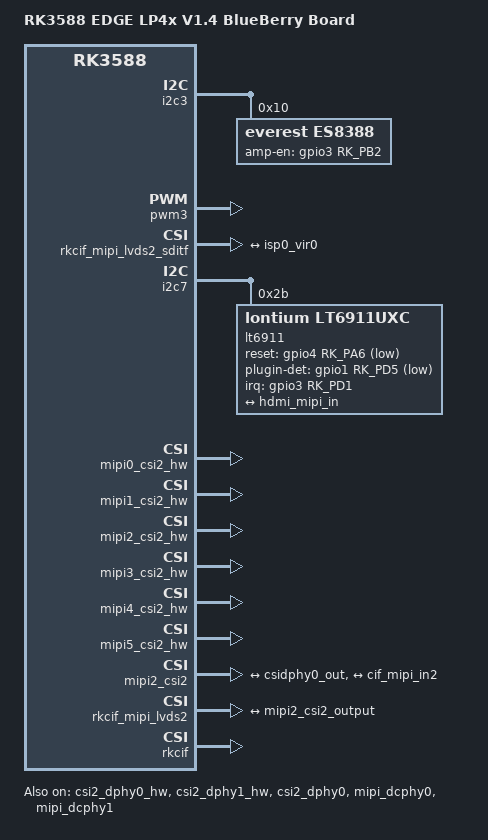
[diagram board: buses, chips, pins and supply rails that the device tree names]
// SPDX-License-Identifier: (GPL-2.0+ OR MIT)
/*
 * Copyright (c) 2021 Rockchip Electronics Co., Ltd.
 *
 */

/dts-v1/;

#include "rk3588-hugsun-edge-v14.dtsi"
#include "rk3588-linux.dtsi"
//#include "rk3588-hugsun-edge-v14a-lt6911uxc-dual-mipi.dtsi"
/ {
	model = "RK3588 EDGE LP4x V1.4 BlueBerry Board";
	compatible = "rockchip,rk3588-hugsun-edge-v14-linux", "rockchip,rk3588";
};

&rk_headset {
		status = "disabled";
		compatible = "rockchip_headset";
		headset_gpio = <&gpio3 RK_PB2 GPIO_ACTIVE_HIGH>;
		pinctrl-names = "default";
		pinctrl-0 = <&hp_det>;
		io-channels = <&saradc 3>;
};

&i2c3 {
	status = "okay";
	es8388: es8388@10 {
		status = "okay";
		#sound-dai-cells = <0>;
		compatible = "everest,es8388", "everest,es8323";
		reg = <0x10>;
		clocks = <&mclkout_i2s0>;
		clock-names = "mclk";
		assigned-clocks = <&mclkout_i2s0>;
		amp-en-gpio = <&gpio3 RK_PB2 GPIO_ACTIVE_HIGH>;
		assigned-clock-rates = <12288000>;
		pinctrl-names = "default";
		pinctrl-0 = <&i2s0_mclk>;
	};
};



&pwm3 {
	compatible = "rockchip,remotectl-pwm";
	pinctrl-names = "default";
	pinctrl-0 = <&pwm3m0_pins>;
	remote_pwm_id = <3>;
	handle_cpu_id = <1>;
	remote_support_psci = <0>;
	status = "okay";

	ir_key1 {  //hugsun blue remote
		rockchip,usercode = <0x7f80>;
		rockchip,key_table =
			<0xec	KEY_REPLY>,
			<0xd8	KEY_BACK>,
			<0xc7	KEY_UP>,
			<0xbf	KEY_DOWN>,
			<0xc8	KEY_LEFT>,
			<0xc6	KEY_RIGHT>,
			<0x8c	KEY_HOME>,
			<0x78	KEY_VOLUMEUP>,
			<0x76	KEY_VOLUMEDOWN>,
			<0x7e	KEY_POWER>,
			<0xed	KEY_POWER>,  //20171123 
			<0x7c	KEY_MENU>,
			<0xb7	388>;
	};

	ir_key2 {   //hugsun 
		rockchip,usercode = <0xef10>;
		rockchip,key_table =
			<0xa2 KEY_POWER>,
			<0xe8 KEY_VOLUMEUP>,
			<0xec KEY_VOLUMEDOWN>,
			<0xa6 141>,//KEY_SETUP>,
			<0xa5 388>,
			<0xff KEY_BACK>,
			<0xba KEY_UP>,
			<0xf8 KEY_LEFT>,
			<0xbe KEY_REPLY>,
			<0xfe KEY_RIGHT>,
			<0xaa KEY_DOWN>,
			<0xb9 KEY_HOME>,
			<0xfa KEY_MENU>,
			<0xe5 KEY_REWIND>, 
			<0xa7 KEY_PLAYPAUSE>,
			<0xe2 KEY_FASTFORWARD>,
			<0xa0 77>,  //@
			<0xb0 KEY_0>,
			<0xa1 14>,
			<0xaf KEY_1>,
			<0xad KEY_2>,
			<0xef KEY_3>,
			<0xb3 KEY_4>,
			<0xb5 KEY_5>,
			<0xee KEY_6>,
			<0xf0 KEY_7>,
			<0xb1 KEY_8>,
			<0xf2	KEY_9>;
	};

	ir_key3 {
		rockchip,usercode = <0xdf00>;
		rockchip,key_table =
			<0xe3 KEY_POWER>,
			<0xb4 63>,	//youtube
			<0xfe 67>,	//Media Center
			<0xa2 KEY_VOLUMEUP>,
			<0xb0 66>,	//Netflix
			<0xa0 68>,	//SetupWizard
			<0xa3 KEY_VOLUMEDOWN>,
			
			<0xbd KEY_HOME>,
			<0xf5 KEY_BACK>,
			
			<0xe5 KEY_UP>,    
			<0xb8 KEY_LEFT>,  
			<0xf9 KEY_REPLY>, 
			<0xf8 KEY_RIGHT>, 
			<0xb7 KEY_DOWN>,  
			<0xfc 388>,
			<0xe7 KEY_MENU>,
			
			<0xab KEY_1>, 
			<0xe9 KEY_2>, 
			<0xea KEY_3>, 
			<0xaf KEY_4>, 
			<0xed KEY_5>, 
			<0xee KEY_6>, 
			<0xb3 KEY_7>, 
			<0xf1 KEY_8>, 
			<0xf2 KEY_9>,
			<0xbe 227>,  //Fn
			<0xf3 KEY_0>,
			<0xef 14>;

	};

	ir_key4{
		rockchip,usercode = <0x4040>;
		rockchip,key_table =
		<0x4d KEY_POWER>;     //power (for 2.4g)
	};
};

&rkcif_mipi_lvds2_sditf {
	status = "disabled";
};

&rkisp0 {
	status = "disabled";
};

&isp0_mmu {
	status = "disabled";
};

&rkisp0_vir1 {
	status = "disabled";
};


&csi2_dphy0_hw {
	status = "okay";
};

&csi2_dphy1_hw {
	status = "okay";
};

&csi2_dphy0 {
	status = "okay";

	ports {
		#address-cells = <1>;
		#size-cells = <0>;
		port@0 {
			reg = <0>;
			#address-cells = <1>;
			#size-cells = <0>;

			hdmi_mipi_in: endpoint@1 {
				reg = <1>;
				remote-endpoint = <&lt6911uxc_out0>;
				data-lanes = <1 2 3 4>;
			};
		};
		port@1 {
			reg = <1>;
			#address-cells = <1>;
			#size-cells = <0>;

			csidphy0_out: endpoint@0 {
				reg = <0>;
				remote-endpoint = <&mipi2_csi2_input>;
			};
		};
	};
};


&i2c7 {
	pinctrl-names = "default";
	pinctrl-0 = <&i2c7m2_xfer>;
	status = "okay";

	lt6911:lt6911@2b {
		compatible = "lontium,lt6911uxc";
		status = "okay";
		reg = <0x2b>;
		clocks = <&ext_cam_clk>;
		clock-names = "xvclk";
		power-domains = <&power RK3588_PD_VI>;
		pinctrl-names = "default";
		pinctrl-0 = <&lt6911uxc_pin>;
		interrupt-parent = <&gpio3>;
		interrupts = <RK_PD1 IRQ_TYPE_LEVEL_HIGH>;
		reset-gpios = <&gpio4 RK_PA6 GPIO_ACTIVE_LOW>;
		plugin-det-gpios = <&gpio1 RK_PD5 GPIO_ACTIVE_LOW>;
		rockchip,camera-module-index = <0>;
		rockchip,camera-module-facing = "back";
		rockchip,camera-module-name = "HDMI-MIPI2";
		rockchip,camera-module-lens-name = "LT6911UXC";

		multi-dev-info {
			dev-idx-l = <4>;
			dev-idx-r = <2>;
			combine-idx = <2>;
			pixel-offset = <0>;
			dev-num = <2>;
		};

		port {
			lt6911uxc_out0: endpoint {
				remote-endpoint = <&hdmi_mipi_in>;
				data-lanes = <1 2 3 4>;
			};
		};
	};
};

&mipi_dcphy0 {
	status = "okay";
};

&mipi_dcphy1 {
	status = "okay";
};

&mipi0_csi2_hw {
	status = "okay";
};

&mipi1_csi2_hw {
	status = "okay";
};

&mipi2_csi2_hw {
	status = "okay";
};

&mipi3_csi2_hw {
	status = "okay";
};

&mipi4_csi2_hw {
	status = "okay";
};

&mipi5_csi2_hw {
	status = "okay";
};

&mipi2_csi2 {
	status = "okay";

	ports {
		#address-cells = <1>;
		#size-cells = <0>;

		port@0 {
			reg = <0>;
			#address-cells = <1>;
			#size-cells = <0>;

			mipi2_csi2_input: endpoint@1 {
				reg = <1>;
				remote-endpoint = <&csidphy0_out>;
			};
		};

		port@1 {
			reg = <1>;
			#address-cells = <1>;
			#size-cells = <0>;

			mipi2_csi2_output: endpoint@0 {
				reg = <0>;
				remote-endpoint = <&cif_mipi_in2>;
			};
		};
	};
};

&rkcif_mipi_lvds2 {
	status = "okay";

	port {
		cif_mipi_in2: endpoint {
			remote-endpoint = <&mipi2_csi2_output>;
		};
	};
};

&rkcif {
	status = "okay";
};

&rkcif_mmu {
	status = "okay";
};

&rkcif_mipi_lvds2_sditf {
	status = "okay";

	port {
		mipi_lvds2_sditf: endpoint {
			remote-endpoint = <&isp0_vir0>;
		};
	};
};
